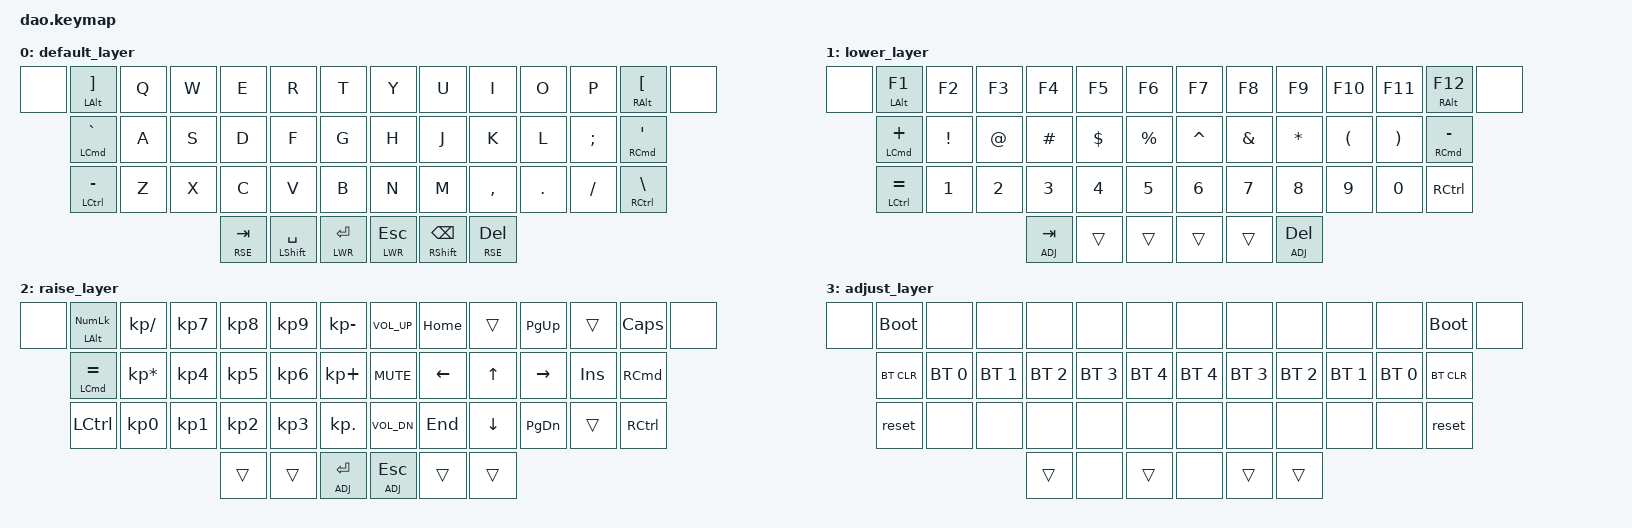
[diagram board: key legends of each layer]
/*
 * Copyright (c) 2021 Rafael Yumagulov
 *
 * SPDX-License-Identifier: MIT
 */

#include <behaviors.dtsi>
#include <dt-bindings/zmk/keys.h>
#include <dt-bindings/zmk/bt.h>

#define DEF 0
#define LWR 1
#define RSE 2
#define ADJ 3

&lt { quick_tap_ms = <200>; };
&mt { quick_tap_ms = <200>; };

/ {
        keymap {
                compatible = "zmk,keymap";

                default_layer {
                        bindings = <
  &none   &mt LALT RBKT     &kp Q   &kp W   &kp E         &kp R             &kp T         &kp Y         &kp U            &kp I         &kp O     &kp P      &mt RALT LBKT        &none
          &mt LCMD GRAVE    &kp A   &kp S   &kp D         &kp F             &kp G         &kp H         &kp J            &kp K         &kp L     &kp SEMI   &mt RCMD SQT
          &mt LCTRL MINUS   &kp Z   &kp X   &kp C         &kp V             &kp B         &kp N         &kp M            &kp COMMA     &kp DOT   &kp FSLH   &mt RCTRL BSLH
                                            &lt RSE TAB   &mt LSHFT SPACE   &lt LWR RET   &lt LWR ESC   &mt RSHFT BSPC   &lt RSE DEL
                        >;
                };
                lower_layer {
                        bindings = <
  &none   &mt LALT F1      &kp F2     &kp F3   &kp F4        &kp F5     &kp F6      &kp F7      &kp F8     &kp F9        &kp F10    &kp F11    &mt RALT F12           &none
          &mt LCMD PLUS    &kp EXCL   &kp AT   &kp HASH      &kp DLLR   &kp PRCNT   &kp CARET   &kp AMPS   &kp STAR      &kp LPAR   &kp RPAR   &mt RCMD MINUS
          &mt LCTRL EQUAL  &kp N1     &kp N2   &kp N3        &kp N4     &kp N5      &kp N6      &kp N7     &kp N8        &kp N9     &kp N0     &kp RCTRL
                                               &lt ADJ TAB   &trans     &trans      &trans      &trans     &lt ADJ DEL
                        >;
                };

                raise_layer {
                        bindings = <
  &none   &mt LALT KP_NUM   &kp KP_SLASH      &kp KP_N7   &kp KP_N8   &kp KP_N9   &kp KP_MINUS   &kp C_VOL_UP   &kp HOME   &trans      &kp PG_UP   &trans   &kp CLCK           &none
          &mt LCMD EQUAL    &kp KP_MULTIPLY   &kp KP_N4   &kp KP_N5   &kp KP_N6   &kp KP_PLUS    &kp C_MUTE     &kp LEFT   &kp UP      &kp RIGHT   &kp INS  &kp RCMD
          &kp LCTRL         &kp KP_N0         &kp KP_N1   &kp KP_N2   &kp KP_N3   &kp KP_DOT     &kp C_VOL_DN   &kp END    &kp DOWN    &kp PG_DN   &trans   &kp RCTRL
                                                          &trans      &trans      &lt ADJ RET    &lt ADJ ESC    &trans     &trans
                        >;
                };
                adjust_layer {
                        bindings = <
  &none   &bootloader   &none          &none          &none          &none          &none          &none          &none          &none          &none          &none          &bootloader   &none
          &bt BT_CLR    &bt BT_SEL 0   &bt BT_SEL 1   &bt BT_SEL 2   &bt BT_SEL 3   &bt BT_SEL 4   &bt BT_SEL 4   &bt BT_SEL 3   &bt BT_SEL 2   &bt BT_SEL 1   &bt BT_SEL 0   &bt BT_CLR
          &reset        &none          &none          &none          &none          &none          &none          &none          &none          &none          &none          &reset
                                                      &trans         &none          &trans         &none          &trans         &trans
                        >;
                };
        };
};
